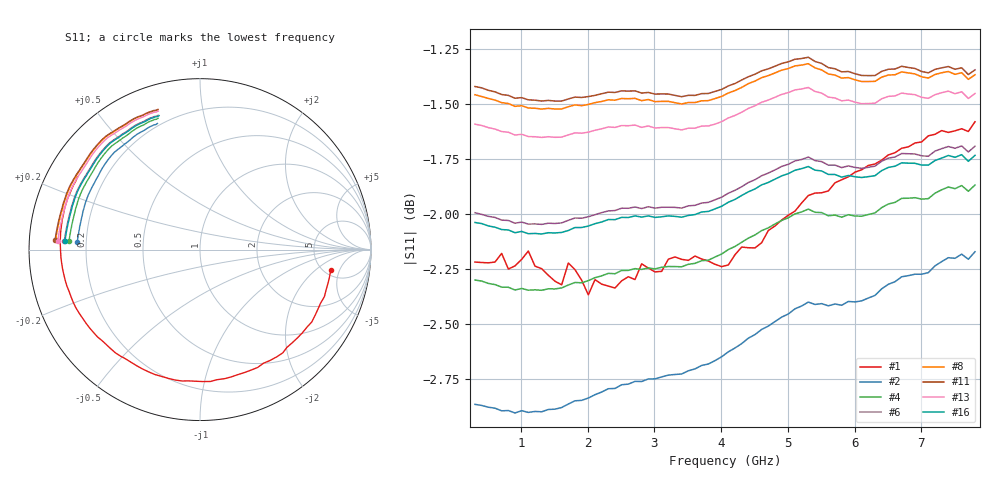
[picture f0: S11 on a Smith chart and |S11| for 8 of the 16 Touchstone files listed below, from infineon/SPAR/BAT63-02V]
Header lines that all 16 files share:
! Infineon Technologies  Discrete & RF Semiconductors
! BAT63-02V
! One-Port S-Parameters
# Hz  S  MA  R  50
!f  S11
!Hz  Mag  Ang
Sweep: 309.9 MHz to 7.806 GHz
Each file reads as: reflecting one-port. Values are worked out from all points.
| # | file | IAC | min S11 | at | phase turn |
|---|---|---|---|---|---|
| 1 | BAT63-02V_IAC_0.1mA.s1p | 0.1 mA | -2.4 dB | 2.009 GHz | -202 deg |
| 2 | BAT63-02V_IAC_5mA.s1p | 5 mA | -2.9 dB | 909.5 MHz | -68 deg |
| 3 | BAT63-02V_IAC_6mA.s1p | 6 mA | -2.6 dB | 909.5 MHz | -68 deg |
| 4 | BAT63-02V_IAC_7mA.s1p | 7 mA | -2.3 dB | 1.309 GHz | -69 deg |
| 5 | BAT63-02V_IAC_8mA.s1p | 8 mA | -2.2 dB | 1.309 GHz | -69 deg |
| 6 | BAT63-02V_IAC_9mA.s1p | 9 mA | -2.0 dB | 1.309 GHz | -69 deg |
| 7 | BAT63-02V_IAC_10mA.s1p | 10 mA | -1.9 dB | 1.309 GHz | -69 deg |
| 8 | BAT63-02V_IAC_20mA.s1p | 20 mA | -1.5 dB | 1.309 GHz | -70 deg |
| 9 | BAT63-02V_IAC_30mA.s1p | 30 mA | -1.4 dB | 1.509 GHz | -70 deg |
| 10 | BAT63-02V_IAC_40mA.s1p | 40 mA | -1.4 dB | 1.509 GHz | -70 deg |
| 11 | BAT63-02V_IAC_50mA.s1p | 50 mA | -1.5 dB | 1.509 GHz | -70 deg |
| 12 | BAT63-02V_IAC_60mA.s1p | 60 mA | -1.6 dB | 1.309 GHz | -70 deg |
| 13 | BAT63-02V_IAC_70mA.s1p | 70 mA | -1.7 dB | 1.309 GHz | -70 deg |
| 14 | BAT63-02V_IAC_80mA.s1p | 80 mA | -1.8 dB | 1.309 GHz | -70 deg |
| 15 | BAT63-02V_IAC_90mA.s1p | 90 mA | -1.9 dB | 1.309 GHz | -69 deg |
| 16 | BAT63-02V_IAC_100mA.s1p | 100 mA | -2.1 dB | 1.309 GHz | -69 deg |
